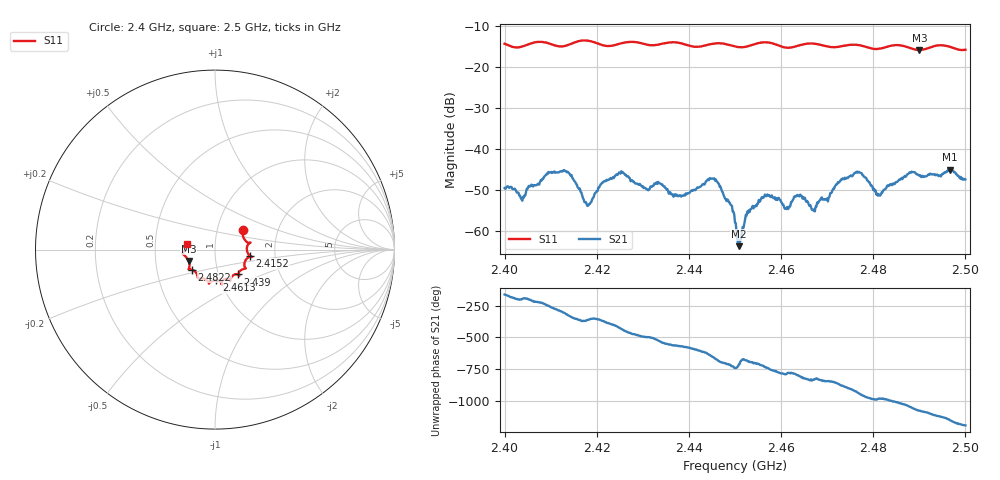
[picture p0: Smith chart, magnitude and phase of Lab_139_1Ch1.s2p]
# Hz S RI R 50
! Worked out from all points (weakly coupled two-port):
!   601 points, 2.4 GHz to 2.5 GHz, reference 50 ohm
!   highest |S21| = -45.09 dB at 2.4967 GHz (marker M1); lowest = -63.7 dB at 2.4508 GHz (marker M2)
!   lowest |S11| = -15.9 dB at 2.49 GHz (marker M3), VSWR 1.38, Z = 36.9 - j4.83 ohm
!   |S11| at or under -10 dB: start of sweep to end of sweep
!   S12 and S22 are empty: the file has one direction only
!   S11 on the Smith chart (normalised r, x): 2.4 GHz: 1.33, +0.31; 2.4152 GHz: 1.48, -0.11; 2.439 GHz: 1.24, -0.36; 2.4613 GHz: 0.96, -0.34; 2.4822 GHz: 0.76, -0.17; 2.5 GHz: 0.73, +0.05
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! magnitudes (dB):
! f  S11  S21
! 2.4 GHz  -14.4  -49.5
! 2.404 GHz  -15.0  -51.7
! 2.4152 GHz  -14.1  -47.9
! 2.4167 GHz  -13.6  -50.6
! 2.4183 GHz  -13.7  -53.4
! 2.4253 GHz  -14.3  -45.4
! 2.4333 GHz  -14.6  -48.1
! 2.439 GHz  -14.5  -51.2
! 2.4455 GHz  -14.3  -47.2
! 2.45 GHz  -15.0  -58.0
! 2.4508 GHz  -15.2  -63.7
! 2.4528 GHz  -15.0  -55.6
! 2.4562 GHz  -14.0  -51.9
! 2.4613 GHz  -15.3  -54.1
! 2.464 GHz  -14.7  -51.6
! 2.4667 GHz  -14.3  -54.8
! 2.4763 GHz  -14.6  -45.8
! 2.4822 GHz  -15.4  -50.1
! 2.4833 GHz  -15.0  -49.1
! 2.49 GHz  -15.9  -46.5
! 2.4967 GHz  -15.1  -45.1
! 2.5 GHz  -15.8  -47.4
